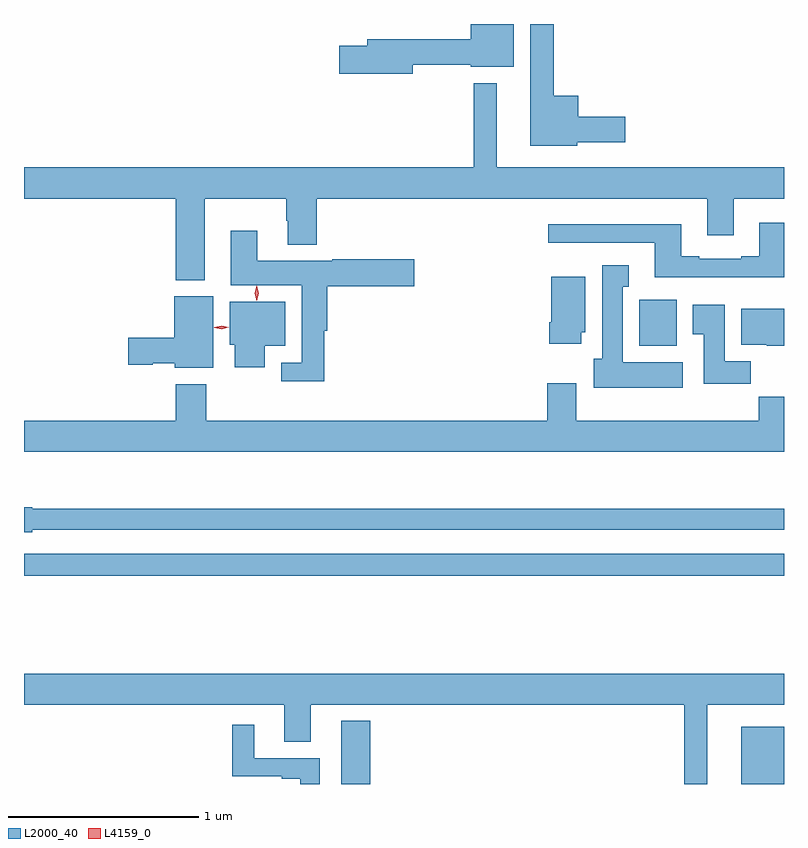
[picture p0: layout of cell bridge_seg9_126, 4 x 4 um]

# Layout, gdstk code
import gdstk
lib = gdstk.Library(unit=1e-6, precision=1e-09)
def R(c, l, rs):  # rectangles x0, y0, x1, y1
    for r in rs: c.add(gdstk.rectangle(r[:2], r[2:], *l))
def P(c, l, *ps):  # polygons
    for p in ps: c.add(gdstk.Polygon(p, *l))
L2000_40 = (2000, 40)
L4159_0 = (4159, 0)

bridge_seg9_126 = lib.new_cell('bridge_seg9_126')
R(bridge_seg9_126, L2000_40, [(480.365,1241.291,480.518,1241.623), (482.471,1241.291,482.696,1241.593), (478.696,1242.388,482.696,1242.504), (481.934,1243.598,482.131,1243.84)])
P(bridge_seg9_126, L2000_40, [(480.742,1245.076),(481.046,1245.076),(481.046,1245.065),(481.273,1245.065),(481.273,1245.291),(481.046,1245.291),(481.046,1245.212),(480.503,1245.212),(480.503,1245.176),(480.354,1245.176),(480.354,1245.029),(480.742,1245.029)],
  [(481.608,1244.669),(481.861,1244.669),(481.861,1244.804),(481.612,1244.804),(481.612,1244.914),(481.483,1244.914),(481.483,1245.291),(481.361,1245.291),(481.361,1244.651),(481.608,1244.651)],
  [(479.647,1244.372),(480.076,1244.372),(480.076,1244.256),(480.083,1244.256),(480.083,1244.129),(480.236,1244.129),(480.236,1244.372),(482.291,1244.372),(482.291,1244.178),(482.431,1244.178),(482.431,1244.372),(482.696,1244.372),(482.696,1244.536),(481.183,1244.536),(481.183,1244.98),(481.062,1244.98),(481.062,1244.536),(478.696,1244.536),(478.696,1244.372),(479.495,1244.372),(479.495,1243.943),(479.647,1243.943)],
  [(482.696,1244.245),(482.567,1244.245),(482.567,1244.068),(482.471,1244.068),(482.471,1244.055),(482.251,1244.055),(482.251,1244.068),(482.155,1244.068),(482.155,1244.236),(481.455,1244.236),(481.455,1244.139),(482.015,1244.139),(482.015,1243.958),(482.696,1243.958)],
  [(480.275,1243.677),(480.293,1243.677),(480.293,1243.91),(480.751,1243.91),(480.751,1244.052),(480.319,1244.052),(480.319,1244.044),(479.923,1244.044),(479.923,1244.203),(479.783,1244.203),(479.783,1243.916),(480.159,1243.916),(480.159,1243.509),(480.051,1243.509),(480.051,1243.412),(480.275,1243.412)],
  [(482.164,1243.51),(481.846,1243.51),(481.846,1243.907),(481.879,1243.907),(481.879,1244.02),(481.739,1244.02),(481.739,1243.53),(481.694,1243.53),(481.694,1243.376),(482.164,1243.376)],
  [(481.63,1243.668),(481.651,1243.668),(481.651,1243.96),(481.472,1243.96),(481.472,1243.72),(481.46,1243.72),(481.46,1243.608),(481.63,1243.608)],
  [(479.692,1243.858),(479.486,1243.858),(479.486,1243.64),(479.244,1243.64),(479.244,1243.498),(479.373,1243.498),(479.373,1243.505),(479.49,1243.505),(479.49,1243.481),(479.692,1243.481)],
  [(479.962,1243.598),(480.07,1243.598),(480.07,1243.828),(479.78,1243.828),(479.78,1243.602),(479.804,1243.602),(479.804,1243.484),(479.962,1243.484)],
  [(482.522,1243.516),(482.383,1243.516),(482.383,1243.813),(482.216,1243.813),(482.216,1243.657),(482.273,1243.657),(482.273,1243.398),(482.522,1243.398)],
  [(482.696,1243.792),(482.471,1243.792),(482.471,1243.604),(482.604,1243.604),(482.604,1243.598),(482.696,1243.598)],
  [(482.696,1243.328),(482.563,1243.328),(482.563,1243.204),(481.603,1243.204),(481.603,1243.399),(481.451,1243.399),(481.451,1243.204),(479.655,1243.204),(479.655,1243.396),(479.495,1243.396),(479.495,1243.204),(478.696,1243.204),(478.696,1243.04),(482.696,1243.04)],
  [(478.74,1242.63),(482.696,1242.63),(482.696,1242.739),(478.74,1242.739),(478.74,1242.747),(478.696,1242.747),(478.696,1242.617),(478.74,1242.617)],
  [(482.293,1241.708),(482.696,1241.708),(482.696,1241.872),(478.696,1241.872),(478.696,1241.708),(480.065,1241.708),(480.065,1241.514),(480.205,1241.514),(480.205,1241.708),(482.172,1241.708),(482.172,1241.291),(482.293,1241.291)],
  [(480.253,1241.427),(479.908,1241.427),(479.908,1241.602),(479.791,1241.602),(479.791,1241.331),(480.053,1241.331),(480.053,1241.319),(480.149,1241.319),(480.149,1241.291),(480.253,1241.291)])
P(bridge_seg9_126, L4159_0, [(479.921,1243.834),(479.921,1243.834),(479.911,1243.873),(479.92,1243.913),(479.92,1243.913),(479.92,1243.913),(479.931,1243.874),(479.922,1243.834)],
  [(479.736,1243.684),(479.698,1243.693),(479.698,1243.694),(479.698,1243.694),(479.736,1243.704),(479.774,1243.696),(479.774,1243.695),(479.774,1243.695)])

lib.write_gds('bridge_seg9_126.gds')
